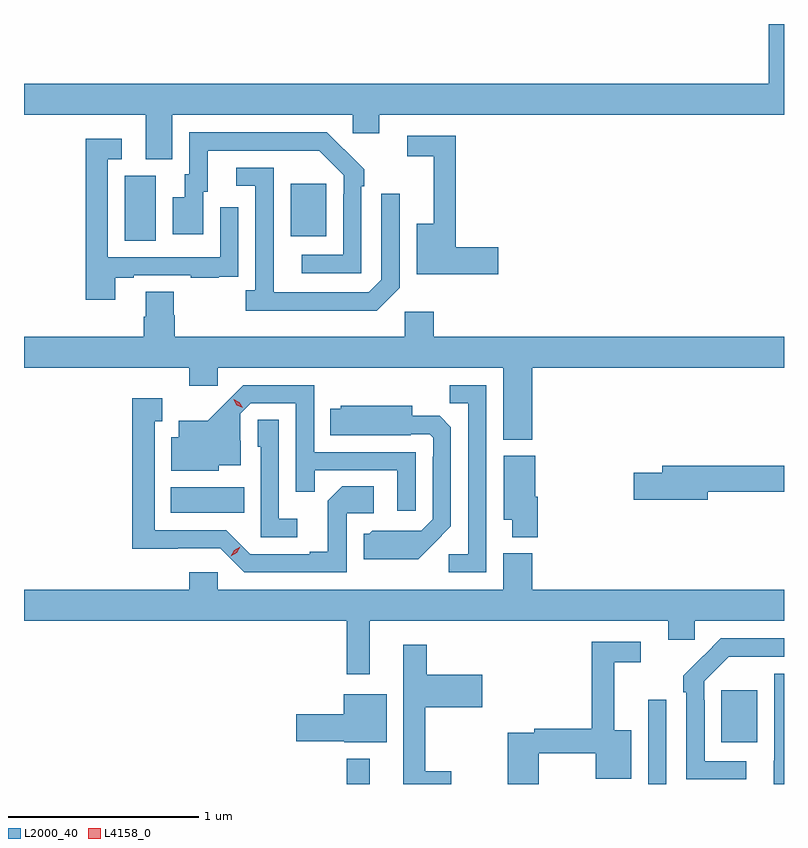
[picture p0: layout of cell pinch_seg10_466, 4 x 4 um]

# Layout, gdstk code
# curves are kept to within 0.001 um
import gdstk
lib = gdstk.Library(unit=1e-6, precision=1e-09)
def R(c, l, rs):  # rectangles x0, y0, x1, y1
    for r in rs: c.add(gdstk.rectangle(r[:2], r[2:], *l))
def P(c, l, *ps):  # polygons
    for p in ps: c.add(gdstk.Polygon(p, *l))
L2000_40 = (2000, 40)
L4158_0 = (4158, 0)

pinch_seg10_466 = lib.new_cell('pinch_seg10_466')
R(pinch_seg10_466, L2000_40, [(388.71,1290.134,388.831,1290.268), (390.297,1290.134,390.393,1290.577), (390.683,1290.353,390.871,1290.628), (387.785,1291.562,388.172,1291.696), (387.542,1292.992,387.706,1293.336), (388.415,1293.017,388.603,1293.292)])
P(pinch_seg10_466, L2000_40, [(387.793,1293.656),(388.743,1293.656),(388.743,1293.558),(388.882,1293.558),(388.882,1293.656),(391.012,1293.656),(391.012,1294.134),(390.931,1294.134),(390.931,1293.82),(387.012,1293.82),(387.012,1293.656),(387.653,1293.656),(387.653,1293.421),(387.793,1293.421)],
  [(388.788,1293.281),(388.803,1293.281),(388.803,1293.369),(388.606,1293.564),(387.882,1293.564),(387.882,1293.342),(387.857,1293.342),(387.857,1293.223),(387.794,1293.223),(387.794,1293.027),(387.955,1293.027),(387.955,1293.252),(387.979,1293.252),(387.979,1293.468),(388.567,1293.468),(388.695,1293.339),(388.695,1293.239),(388.692,1293.239),(388.692,1292.919),(388.473,1292.919),(388.473,1292.823),(388.788,1292.823)],
  [(389.509,1292.96),(389.285,1292.96),(389.285,1293.546),(389.028,1293.546),(389.028,1293.438),(389.168,1293.438),(389.168,1293.082),(389.078,1293.082),(389.078,1292.818),(389.509,1292.818)],
  [(387.493,1292.799),(387.589,1292.799),(387.589,1292.811),(387.889,1292.811),(387.889,1292.799),(388.037,1292.799),(388.037,1292.805),(388.139,1292.805),(388.139,1292.914),(388.14,1292.914),(388.14,1293.169),(388.044,1293.169),(388.044,1292.907),(387.453,1292.907),(387.453,1293.423),(387.526,1293.423),(387.526,1293.529),(387.337,1293.529),(387.337,1292.682),(387.493,1292.682)],
  [(388.989,1292.745),(388.989,1293.241),(388.893,1293.241),(388.893,1292.787),(388.827,1292.721),(388.327,1292.721),(388.326,1293.378),(388.128,1293.378),(388.128,1293.282),(388.23,1293.282),(388.23,1292.734),(388.179,1292.734),(388.179,1292.624),(388.868,1292.624)],
  [(389.687,1292.324),(391.012,1292.324),(391.012,1292.488),(389.168,1292.488),(389.168,1292.62),(389.016,1292.62),(389.016,1292.488),(387.806,1292.488),(387.806,1292.601),(387.801,1292.601),(387.801,1292.726),(387.653,1292.726),(387.653,1292.594),(387.641,1292.594),(387.641,1292.488),(387.012,1292.488),(387.012,1292.324),(387.881,1292.324),(387.881,1292.229),(388.032,1292.229),(388.032,1292.324),(389.534,1292.324),(389.534,1291.946),(389.687,1291.946)],
  [(389.073,1291.881),(388.539,1291.881),(388.539,1292.232),(388.166,1292.232),(387.979,1292.047),(387.827,1292.047),(387.827,1291.96),(387.788,1291.96),(387.788,1291.784),(388.038,1291.784),(388.038,1291.811),(388.153,1291.811),(388.153,1291.94),(388.149,1291.94),(388.149,1292.082),(388.206,1292.139),(388.443,1292.139),(388.443,1291.672),(388.541,1291.672),(388.541,1291.785),(388.977,1291.785),(388.977,1291.572),(389.073,1291.572)],
  [(389.445,1292.232),(389.254,1292.232),(389.254,1292.137),(389.349,1292.137),(389.349,1291.344),(389.247,1291.344),(389.247,1291.248),(389.445,1291.248)],
  [(388.71,1291.56),(388.852,1291.56),(388.852,1291.7),(388.687,1291.7),(388.611,1291.624),(388.611,1291.357),(388.517,1291.357),(388.517,1291.344),(388.203,1291.344),(388.077,1291.47),(387.7,1291.47),(387.7,1292.043),(387.739,1292.043),(387.739,1292.164),(387.582,1292.164),(387.582,1291.373),(388.044,1291.374),(388.17,1291.248),(388.71,1291.248)],
  [(389.167,1291.397),(389.259,1291.49),(389.259,1292.012),(389.2,1292.071),(389.056,1292.071),(389.056,1292.125),(388.68,1292.125),(388.68,1292.11),(388.624,1292.11),(388.624,1291.97),(389.048,1291.97),(389.048,1291.974),(389.148,1291.974),(389.166,1291.956),(389.166,1291.856),(389.163,1291.856),(389.163,1291.527),(389.103,1291.467),(388.846,1291.468),(388.83,1291.452),(388.799,1291.452),(388.799,1291.316),(389.087,1291.316)],
  [(388.45,1291.531),(388.353,1291.531),(388.353,1292.051),(388.242,1292.051),(388.242,1291.908),(388.257,1291.908),(388.257,1291.434),(388.45,1291.434)],
  [(389.717,1291.647),(389.704,1291.647),(389.704,1291.861),(389.537,1291.861),(389.537,1291.526),(389.582,1291.526),(389.582,1291.433),(389.717,1291.433)],
  [(390.61,1291.672),(391.012,1291.672),(391.012,1291.808),(390.371,1291.808),(390.371,1291.772),(390.222,1291.772),(390.222,1291.63),(390.61,1291.63)],
  [(388.831,1290.992),(390.404,1290.992),(390.404,1290.894),(390.543,1290.894),(390.543,1290.992),(391.012,1290.992),(391.012,1291.156),(389.687,1291.156),(389.687,1291.348),(389.534,1291.348),(389.534,1291.156),(388.032,1291.156),(388.032,1291.249),(387.881,1291.249),(387.881,1291.156),(387.012,1291.156),(387.012,1290.992),(388.71,1290.992),(388.71,1290.711),(388.831,1290.711)],
  [(390.814,1290.255),(390.594,1290.255),(390.594,1290.575),(390.591,1290.575),(390.591,1290.675),(390.72,1290.804),(391.012,1290.804),(391.012,1290.9),(390.68,1290.9),(390.483,1290.705),(390.483,1290.617),(390.498,1290.617),(390.498,1290.159),(390.814,1290.159)],
  [(389.722,1290.297),(390.02,1290.297),(390.02,1290.161),(390.208,1290.161),(390.208,1290.418),(390.119,1290.418),(390.119,1290.774),(390.259,1290.774),(390.259,1290.882),(390.001,1290.882),(390.001,1290.425),(389.698,1290.425),(389.698,1290.405),(389.557,1290.405),(389.557,1290.134),(389.722,1290.134)],
  [(389.26,1290.202),(389.123,1290.202),(389.123,1290.539),(389.425,1290.539),(389.425,1290.709),(389.131,1290.709),(389.131,1290.868),(389.009,1290.868),(389.009,1290.134),(389.26,1290.134)],
  [(391.012,1290.714),(390.96,1290.714),(390.96,1290.257),(390.959,1290.257),(390.959,1290.134),(391.012,1290.134)],
  [(388.921,1290.607),(388.694,1290.607),(388.694,1290.501),(388.446,1290.501),(388.446,1290.359),(388.698,1290.359),(388.698,1290.353),(388.921,1290.353)])
P(pinch_seg10_466, L4158_0, [(388.164,1292.113),(388.133,1292.128),(388.115,1292.157),(388.115,1292.158),(388.115,1292.158),(388.146,1292.143),(388.164,1292.113),(388.164,1292.113)],
  [(388.101,1291.332),(388.101,1291.332),(388.118,1291.364),(388.15,1291.384),(388.15,1291.384),(388.15,1291.383),(388.133,1291.351),(388.101,1291.332)])

lib.write_gds('pinch_seg10_466.gds')
